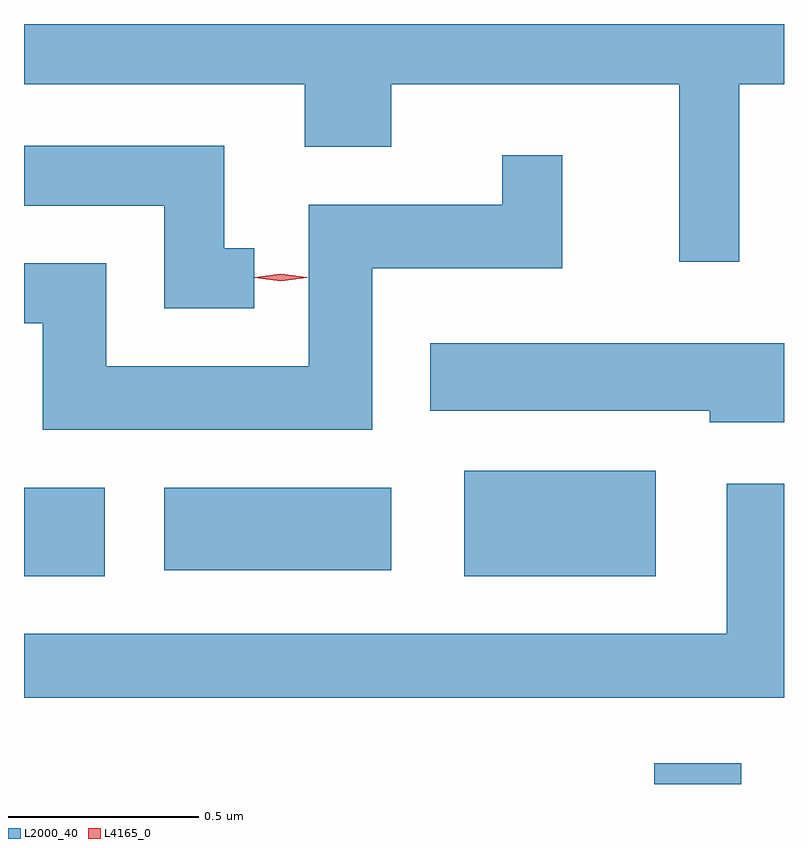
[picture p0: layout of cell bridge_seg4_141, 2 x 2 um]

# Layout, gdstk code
import gdstk
lib = gdstk.Library(unit=1e-6, precision=1e-09)
def R(c, l, rs):  # rectangles x0, y0, x1, y1
    for r in rs: c.add(gdstk.rectangle(r[:2], r[2:], *l))
def P(c, l, *ps):  # polygons
    for p in ps: c.add(gdstk.Polygon(p, *l))
L2000_40 = (2000, 40)
L4165_0 = (4165, 0)

bridge_seg4_141 = lib.new_cell('bridge_seg4_141')
R(bridge_seg4_141, L2000_40, [(922.931,1290.674,923.159,1290.729), (921.272,1291.221,921.484,1291.454), (922.431,1291.221,922.934,1291.499), (921.641,1291.236,922.239,1291.454)])
P(bridge_seg4_141, L2000_40, [(923.154,1292.516),(923.272,1292.516),(923.272,1292.674),(921.272,1292.674),(921.272,1292.516),(922.011,1292.516),(922.011,1292.351),(922.239,1292.351),(922.239,1292.516),(922.996,1292.516),(922.996,1292.048),(923.154,1292.048)],
  [(921.878,1292.084),(921.799,1292.084),(921.799,1292.354),(921.272,1292.354),(921.272,1292.196),(921.641,1292.196),(921.641,1291.926),(921.878,1291.926)],
  [(922.189,1292.031),(922.689,1292.031),(922.689,1292.328),(922.531,1292.328),(922.531,1292.199),(922.021,1292.199),(922.021,1291.774),(921.489,1291.774),(921.489,1292.044),(921.272,1292.044),(921.272,1291.886),(921.321,1291.886),(921.321,1291.606),(922.189,1291.606)],
  [(923.272,1291.834),(922.341,1291.834),(922.341,1291.656),(923.076,1291.656),(923.076,1291.626),(923.272,1291.626)],
  [(923.272,1291.464),(923.121,1291.464),(923.121,1291.069),(921.272,1291.069),(921.272,1290.901),(923.272,1290.901)])
P(bridge_seg4_141, L4165_0, [(921.948,1291.997),(921.879,1292.006),(921.879,1292.007),(921.879,1292.007),(921.948,1292.017),(922.018,1292.007),(922.018,1292.007),(922.018,1292.006)])

lib.write_gds('bridge_seg4_141.gds')
